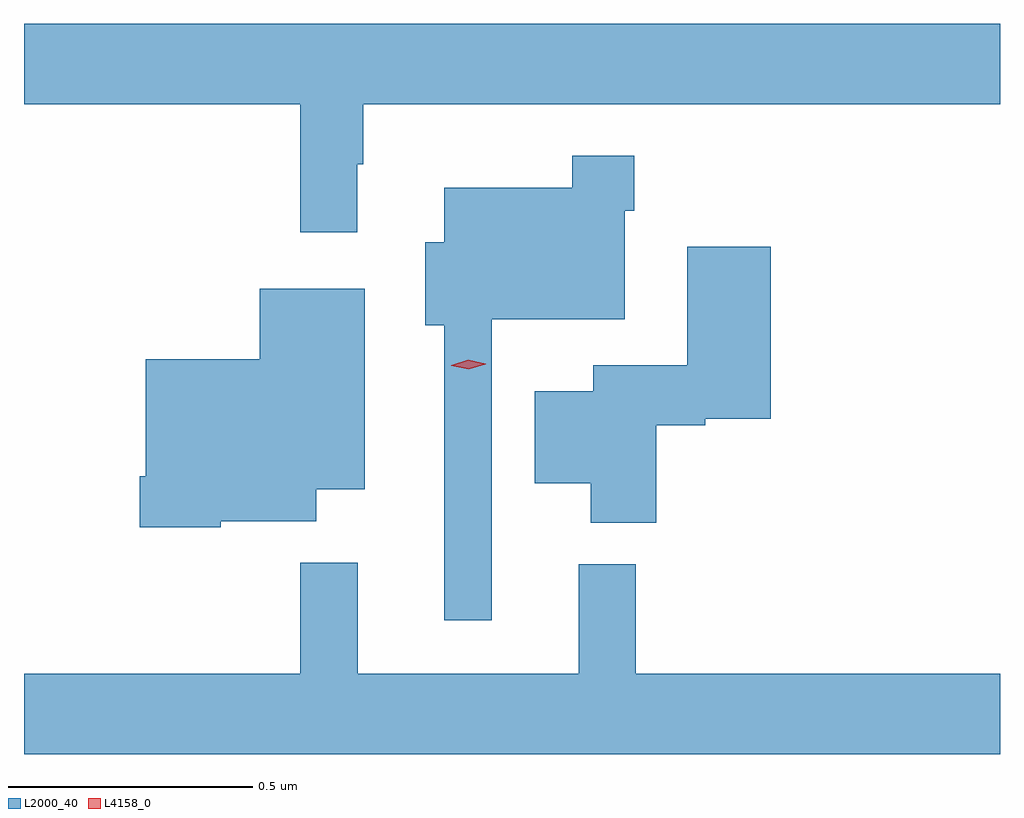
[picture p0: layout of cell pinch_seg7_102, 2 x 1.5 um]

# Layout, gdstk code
import gdstk
lib = gdstk.Library(unit=1e-6, precision=1e-09)
def P(c, l, *ps):  # polygons
    for p in ps: c.add(gdstk.Polygon(p, *l))
L2000_40 = (2000, 40)
L4158_0 = (4158, 0)

pinch_seg7_102 = lib.new_cell('pinch_seg7_102')
P(pinch_seg7_102, L2000_40, [(941.224,1028.465),(941.236,1028.465),(941.236,1028.588),(942.541,1028.588),(942.541,1028.752),(940.541,1028.752),(940.541,1028.588),(941.107,1028.588),(941.107,1028.325),(941.224,1028.325)],
  [(941.499,1028.147),(941.772,1028.147),(941.772,1028.369),(941.792,1028.369),(941.792,1028.482),(941.664,1028.482),(941.664,1028.416),(941.402,1028.416),(941.402,1028.305),(941.363,1028.305),(941.363,1028.135),(941.402,1028.135),(941.402,1027.53),(941.499,1027.53)],
  [(941.837,1027.93),(941.937,1027.93),(941.937,1027.943),(942.071,1027.943),(942.071,1028.296),(941.9,1028.296),(941.9,1028.053),(941.708,1028.053),(941.708,1027.999),(941.588,1027.999),(941.588,1027.811),(941.702,1027.811),(941.702,1027.73),(941.837,1027.73)],
  [(940.944,1027.733),(941.14,1027.733),(941.14,1027.799),(941.239,1027.799),(941.239,1028.209),(941.024,1028.209),(941.024,1028.065),(940.79,1028.065),(940.79,1027.825),(940.778,1027.825),(940.778,1027.721),(940.944,1027.721)],
  [(942.541,1027.42),(941.795,1027.42),(941.795,1027.645),(941.678,1027.645),(941.678,1027.42),(941.225,1027.42),(941.225,1027.648),(941.107,1027.648),(941.107,1027.42),(940.541,1027.42),(940.541,1027.256),(942.541,1027.256)])
P(pinch_seg7_102, L4158_0, [(941.452,1028.044),(941.416,1028.052),(941.416,1028.053),(941.416,1028.053),(941.451,1028.064),(941.487,1028.056),(941.487,1028.055),(941.487,1028.055)])

lib.write_gds('pinch_seg7_102.gds')
